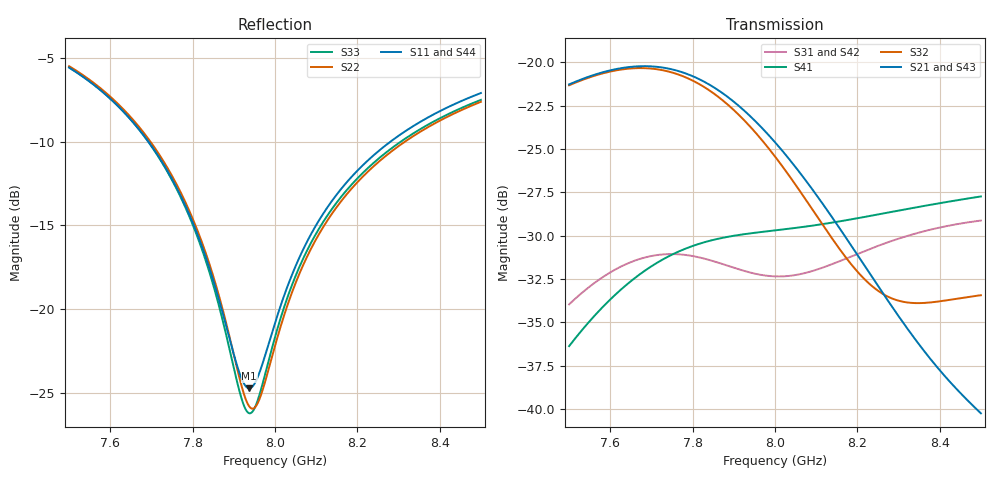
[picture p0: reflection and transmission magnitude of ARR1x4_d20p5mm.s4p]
! Touchstone file exported from HFSS 2025.1.0
!  File:  C:/Users/user/Documents/Ansoft/TFG_UWB-MIMO-Array.aedt
!  Generated:  05:34:59 PM Nov 20, 2026
!  Design:  ARR1x4_P01_MS2_dparam
!  Project:  TFG_UWB-MIMO-Array
!  Setup:  Setup_ch9
!  Solution:  Sweep_7p5_8p5
! Variables:
!  arr_d = 20.5mm
!  board_m = 13mm
!  board_x = 87.5mm
!  board_y = 26mm
!  cu_t = 0.035mm
!  line_w = 3.92mm
!  pad_xy = 22mm
!  pad_zn = 25mm
!  pad_zp = 33mm
!  patch_L = 7.322mm
!  patch_W = 11.421266mm
!  sub_h = 2.07mm
!  tr_l = 7.1mm
!  tr_w = 0.8mm
# GHz S MA R 50.000000
! Terminal data exported
! Port[1] = P1
! Port[2] = P2
! Port[3] = P3
! Port[4] = P4
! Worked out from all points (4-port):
!   1001 points, 7.5 GHz to 8.5 GHz, reference 50 ohm
!   strongest paths, dB at 7.5 GHz, 7.75 GHz, 8 GHz, 8.25 GHz, 8.5 GHz:
!     S21: -21.3, -20.4, -24.6, -32.9, -40.3
!     S43: -21.3, -20.5, -24.7, -33.0, -40.5
!     S32: -21.3, -20.6, -25.4, -33.2, -33.4
!     S41: -36.4, -31.1, -29.7, -28.8, -27.7
!     S31: -34.0, -31.1, -32.4, -30.6, -29.1
!     S42: -33.9, -31.1, -32.4, -30.6, -29.2
!   lowest |S11| = -24.7 dB at 7.937 GHz (marker M1), VSWR 1.12, Z = 55.9 + j1.88 ohm
!   |S11| at or under -10 dB: 7.693 GHz to 8.28 GHz (587.8 MHz wide, 7.36 % of centre)
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7.5  0.5258 156.9  0.08635 -61.0  0.02003 111.5  0.01517 -90.1
     0.08635 -61.0  0.5311 157.2  0.08586 -60.5  0.02014 111.4
     0.02003 111.5  0.08586 -60.5  0.5266 157.1  0.08646 -61.6
     0.01517 -90.1  0.02014 111.4  0.08646 -61.6  0.5238 156.7
7.755  0.2381 115.9  0.0951 -120.4  0.02797 21.5  0.02806 -180.0
       0.0951 -120.4  0.2435 116.9  0.09308 -119.6  0.02798 21.7
       0.02797 21.5  0.09308 -119.6  0.2363 116.6  0.09455 -121.0
       0.02806 -180.0  0.02798 21.7  0.09455 -121.0  0.2352 115.5
7.937  0.05808 16.8  0.07042 -164.1  0.02479 -66.7  0.03207 99.6
       0.07042 -164.1  0.0514 25.6  0.06575 -161.6  0.02469 -66.5
       0.02479 -66.7  0.06575 -161.6  0.04897 17.0  0.06959 -164.5
       0.03207 99.6  0.02469 -66.5  0.06959 -164.5  0.0588 13.8
8.051  0.1354 -61.0  0.04965 174.2  0.02435 -126.8  0.0333 49.4
       0.04965 174.2  0.1206 -62.6  0.04414 -179.2  0.02425 -126.7
       0.02435 -126.8  0.04414 -179.2  0.1266 -65.0  0.04892 173.9
       0.0333 49.4  0.02425 -126.7  0.04892 173.9  0.1383 -61.2
8.145  0.216 -80.1  0.03483 161.8  0.02634 -170.6  0.03457 11.3
       0.03483 161.8  0.198 -81.3  0.03027 176.1  0.02626 -170.5
       0.02634 -170.6  0.03027 176.1  0.2044 -82.7  0.03427 161.7
       0.03457 11.3  0.02626 -170.5  0.03427 161.7  0.2189 -80.0
8.289  0.322 -98.1  0.01935 155.1  0.03068 137.5  0.03713 -39.3
       0.01935 155.1  0.2996 -98.5  0.02072 -172.8  0.0306 137.7
       0.03068 137.5  0.02072 -172.8  0.3059 -99.4  0.01901 155.0
       0.03713 -39.3  0.0306 137.7  0.01901 155.0  0.3249 -98.0
8.5  0.4417 -118.2  0.009712 168.2  0.03495 84.0  0.04102 -98.1
     0.009712 168.2  0.4158 -117.6  0.02128 -165.2  0.03482 84.5
     0.03495 84.0  0.02128 -165.2  0.4213 -118.4  0.009391 168.4
     0.04102 -98.1  0.03482 84.5  0.009391 168.4  0.4444 -118.2
